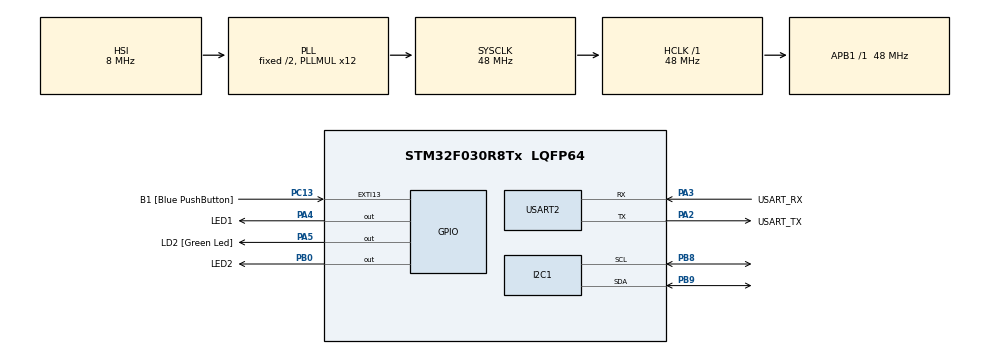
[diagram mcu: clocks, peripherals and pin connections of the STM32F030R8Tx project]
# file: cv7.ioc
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FREERTOS.Queues01=xVisualQueue,16,uint16_t,0,Dynamic,NULL,NULL
FREERTOS.Tasks01=defaultTask,0,128,StartDefaultTask,Default,NULL,Dynamic,NULL,NULL;VisualTask,0,128,StartVisualTask,Default,NULL,Dynamic,NULL,NULL;AcceleroTask,0,128,StartAcceleroTask,Default,NULL,Dynamic,NULL,NULL
FREERTOS.configUSE_NEWLIB_REENTRANT=1
I2C1.Timing=0x00201D2B
Mcu.Family=STM32F0
Mcu.Name=STM32F030R8Tx
Mcu.Package=LQFP64
NVIC.TIM14_IRQn=true\:3\:0\:false\:false\:true\:false\:false\:true\:true
NVIC.TimeBase=TIM14_IRQn
NVIC.TimeBaseIP=TIM14
PA13.GPIO_Label=TMS
PA13.Mode=Serial_Wire
PA13.Signal=SYS_SWDIO
PA14.GPIO_Label=TCK
PA14.Mode=Serial_Wire
PA14.Signal=SYS_SWCLK
PA2.GPIO_Label=USART_TX
PA2.GPIO_Mode=GPIO_MODE_AF_PP
PA2.GPIO_PuPd=GPIO_NOPULL
PA2.GPIO_Speed=GPIO_SPEED_FREQ_LOW
PA2.Mode=Asynchronous
PA2.Signal=USART2_TX
PA3.GPIO_Label=USART_RX
PA3.GPIO_Mode=GPIO_MODE_AF_PP
PA3.GPIO_PuPd=GPIO_NOPULL
PA3.GPIO_Speed=GPIO_SPEED_FREQ_LOW
PA3.Mode=Asynchronous
PA3.Signal=USART2_RX
PA4.GPIO_Label=LED1
PA4.Signal=GPIO_Output
PA5.GPIO_Label=LD2 [Green Led]
PA5.GPIO_Mode=GPIO_MODE_OUTPUT_PP
PA5.GPIO_PuPd=GPIO_NOPULL
PA5.GPIO_Speed=GPIO_SPEED_FREQ_LOW
PA5.Signal=GPIO_Output
PB0.GPIO_Label=LED2
PB0.Signal=GPIO_Output
PB8.Mode=I2C
PB8.Signal=I2C1_SCL
PB9.Mode=I2C
PB9.Signal=I2C1_SDA
PC13.GPIO_Label=B1 [Blue PushButton]
PC13.GPIO_ModeDefaultEXTI=GPIO_MODE_IT_FALLING
PC13.Signal=GPXTI13
PC14-OSC32_IN.Mode=LSE-External-Oscillator
PC14-OSC32_IN.Signal=RCC_OSC32_IN
PC15-OSC32_OUT.Mode=LSE-External-Oscillator
PC15-OSC32_OUT.Signal=RCC_OSC32_OUT
PF0-OSC_IN.Mode=HSE-External-Clock-Source
PF0-OSC_IN.Signal=RCC_OSC_IN
PF1-OSC_OUT.Signal=RCC_OSC_OUT
ProjectManager.HeapSize=0x200
ProjectManager.StackSize=0x400
ProjectManager.TargetToolchain=STM32CubeIDE
RCC.AHBFreq_Value=48000000
RCC.APB1Freq_Value=48000000
RCC.APB1TimFreq_Value=48000000
RCC.HCLKFreq_Value=48000000
RCC.PLLMUL=RCC_PLL_MUL12
RCC.SYSCLKFreq_VALUE=48000000
RCC.SYSCLKSource=RCC_SYSCLKSOURCE_PLLCLK
USART2.VirtualMode-Asynchronous=VM_ASYNC
VP_FREERTOS_VS_CMSIS_V1.Mode=CMSIS_V1
VP_SYS_VS_tim14.Mode=TIM14
board=NUCLEO-F030R8

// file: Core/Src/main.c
/* USER CODE BEGIN Header */
/**
 ******************************************************************************
 * @file           : main.c
 * @brief          : Main program body
 ******************************************************************************
 * @attention
 *
 * Copyright (c) 2025 STMicroelectronics.
 * All rights reserved.
 *
 * This software is licensed under terms that can be found in the LICENSE file
 * in the root directory of this software component.
 * If no LICENSE file comes with this software, it is provided AS-IS.
 *
 ******************************************************************************
 */
/* USER CODE END Header */
#include "main.h"
#include "cmsis_os.h"
#include "lis2dw12_reg.h"
#include <stdio.h>
#include "stm32f0xx_hal.h"

I2C_HandleTypeDef hi2c1;

UART_HandleTypeDef huart2;

osThreadId defaultTaskHandle;
osThreadId VisualTaskHandle;
osThreadId AcceleroTaskHandle;
osMessageQId xVisualQueueHandle;

void SystemClock_Config(void);
static void MX_GPIO_Init(void);
static void MX_USART2_UART_Init(void);
static void MX_I2C1_Init(void);
void StartDefaultTask(void const * argument);
void StartVisualTask(void const * argument);
void StartAcceleroTask(void const * argument);

/* USER CODE BEGIN 0 */
static int32_t platform_write(void *handle, uint8_t reg, uint8_t *bufp, uint16_t len)
{
	HAL_I2C_Mem_Write(handle, LIS2DW12_I2C_ADD_H, reg, I2C_MEMADD_SIZE_8BIT, bufp, len, 1000);
	return 0;
}
static int32_t platform_read(void *handle, uint8_t reg, uint8_t *bufp, uint16_t len)
{
	HAL_I2C_Mem_Read(handle, LIS2DW12_I2C_ADD_H, reg, I2C_MEMADD_SIZE_8BIT, bufp, len, 1000);
	return 0;
}
// Kontext pro LIS2DW12
static stmdev_ctx_t lis2dw12 = {
		.write_reg = platform_write,
		.read_reg = platform_read,
		.handle = &hi2c1,
};

int _write(int file, char *ptr, int len)
{
	HAL_UART_Transmit(&huart2, (uint8_t*)ptr, len, HAL_MAX_DELAY);
	return len;
}
/* USER CODE END 0 */

int main(void)
{

	/* MCU Configuration--------------------------------------------------------*/

	/* Reset of all peripherals, Initializes the Flash interface and the Systick. */
	HAL_Init();

	/* Configure the system clock */
	SystemClock_Config();

	/* Initialize all configured peripherals */
	MX_GPIO_Init();
	MX_USART2_UART_Init();
	MX_I2C1_Init();

	/* Create the queue(s) */
	/* definition and creation of xVisualQueue */
	osMessageQDef(xVisualQueue, 16, uint16_t);
	xVisualQueueHandle = osMessageCreate(osMessageQ(xVisualQueue), NULL);

	/* Create the thread(s) */
	/* definition and creation of defaultTask */
	osThreadDef(defaultTask, StartDefaultTask, osPriorityNormal, 0, 128);
	defaultTaskHandle = osThreadCreate(osThread(defaultTask), NULL);

	/* definition and creation of VisualTask */
	osThreadDef(VisualTask, StartVisualTask, osPriorityNormal, 0, 128);
	VisualTaskHandle = osThreadCreate(osThread(VisualTask), NULL);

	/* definition and creation of AcceleroTask */
	osThreadDef(AcceleroTask, StartAcceleroTask, osPriorityNormal, 0, 128);
	AcceleroTaskHandle = osThreadCreate(osThread(AcceleroTask), NULL);

	/* Start scheduler */
	osKernelStart();

	/* We should never get here as control is now taken by the scheduler */

	/* Infinite loop */
	while (1)
	{

	}
}

void SystemClock_Config(void)
{
	RCC_OscInitTypeDef RCC_OscInitStruct = {0};
	RCC_ClkInitTypeDef RCC_ClkInitStruct = {0};
	RCC_PeriphCLKInitTypeDef PeriphClkInit = {0};

	/** Initializes the RCC Oscillators according to the specified parameters
	 * in the RCC_OscInitTypeDef structure.
	 */
	RCC_OscInitStruct.OscillatorType = RCC_OSCILLATORTYPE_HSI;
	RCC_OscInitStruct.HSIState = RCC_HSI_ON;
	RCC_OscInitStruct.HSICalibrationValue = RCC_HSICALIBRATION_DEFAULT;
	RCC_OscInitStruct.PLL.PLLState = RCC_PLL_ON;
	RCC_OscInitStruct.PLL.PLLSource = RCC_PLLSOURCE_HSI;
	RCC_OscInitStruct.PLL.PLLMUL = RCC_PLL_MUL12;
	RCC_OscInitStruct.PLL.PREDIV = RCC_PREDIV_DIV1;
	if (HAL_RCC_OscConfig(&RCC_OscInitStruct) != HAL_OK)
	{
		Error_Handler();
	}

	/** Initializes the CPU, AHB and APB buses clocks
	 */
	RCC_ClkInitStruct.ClockType = RCC_CLOCKTYPE_HCLK|RCC_CLOCKTYPE_SYSCLK
			|RCC_CLOCKTYPE_PCLK1;
	RCC_ClkInitStruct.SYSCLKSource = RCC_SYSCLKSOURCE_PLLCLK;
	RCC_ClkInitStruct.AHBCLKDivider = RCC_SYSCLK_DIV1;
	RCC_ClkInitStruct.APB1CLKDivider = RCC_HCLK_DIV1;

	if (HAL_RCC_ClockConfig(&RCC_ClkInitStruct, FLASH_LATENCY_1) != HAL_OK)
	{
		Error_Handler();
	}
	PeriphClkInit.PeriphClockSelection = RCC_PERIPHCLK_I2C1;
	PeriphClkInit.I2c1ClockSelection = RCC_I2C1CLKSOURCE_HSI;
	if (HAL_RCCEx_PeriphCLKConfig(&PeriphClkInit) != HAL_OK)
	{
		Error_Handler();
	}
}

static void MX_I2C1_Init(void)
{

	hi2c1.Instance = I2C1;
	hi2c1.Init.Timing = 0x00201D2B;
	hi2c1.Init.OwnAddress1 = 0;
	hi2c1.Init.AddressingMode = I2C_ADDRESSINGMODE_7BIT;
	hi2c1.Init.DualAddressMode = I2C_DUALADDRESS_DISABLE;
	hi2c1.Init.OwnAddress2 = 0;
	hi2c1.Init.OwnAddress2Masks = I2C_OA2_NOMASK;
	hi2c1.Init.GeneralCallMode = I2C_GENERALCALL_DISABLE;
	hi2c1.Init.NoStretchMode = I2C_NOSTRETCH_DISABLE;
	if (HAL_I2C_Init(&hi2c1) != HAL_OK)
	{
		Error_Handler();
	}

	/** Configure Analogue filter
	 */
	if (HAL_I2CEx_ConfigAnalogFilter(&hi2c1, I2C_ANALOGFILTER_ENABLE) != HAL_OK)
	{
		Error_Handler();
	}

	/** Configure Digital filter
	 */
	if (HAL_I2CEx_ConfigDigitalFilter(&hi2c1, 0) != HAL_OK)
	{
		Error_Handler();
	}

}

static void MX_USART2_UART_Init(void)
{

	huart2.Instance = USART2;
	huart2.Init.BaudRate = 38400;
	huart2.Init.WordLength = UART_WORDLENGTH_8B;
	huart2.Init.StopBits = UART_STOPBITS_1;
	huart2.Init.Parity = UART_PARITY_NONE;
	huart2.Init.Mode = UART_MODE_TX_RX;
	huart2.Init.HwFlowCtl = UART_HWCONTROL_NONE;
	huart2.Init.OverSampling = UART_OVERSAMPLING_16;
	huart2.Init.OneBitSampling = UART_ONE_BIT_SAMPLE_DISABLE;
	huart2.AdvancedInit.AdvFeatureInit = UART_ADVFEATURE_NO_INIT;
	if (HAL_UART_Init(&huart2) != HAL_OK)
	{
		Error_Handler();
	}

}

static void MX_GPIO_Init(void)
{
	GPIO_InitTypeDef GPIO_InitStruct = {0};

	/* GPIO Ports Clock Enable */
	__HAL_RCC_GPIOC_CLK_ENABLE();
	__HAL_RCC_GPIOF_CLK_ENABLE();
	__HAL_RCC_GPIOA_CLK_ENABLE();
	__HAL_RCC_GPIOB_CLK_ENABLE();

	/*Configure GPIO pin Output Level */
	HAL_GPIO_WritePin(GPIOA, LED1_Pin|LD2_Pin, GPIO_PIN_RESET);

	/*Configure GPIO pin Output Level */
	HAL_GPIO_WritePin(LED2_GPIO_Port, LED2_Pin, GPIO_PIN_RESET);

	/*Configure GPIO pin : B1_Pin */
	GPIO_InitStruct.Pin = B1_Pin;
	GPIO_InitStruct.Mode = GPIO_MODE_IT_FALLING;
	GPIO_InitStruct.Pull = GPIO_NOPULL;
	HAL_GPIO_Init(B1_GPIO_Port, &GPIO_InitStruct);

	/*Configure GPIO pins : LED1_Pin LD2_Pin */
	GPIO_InitStruct.Pin = LED1_Pin|LD2_Pin;
	GPIO_InitStruct.Mode = GPIO_MODE_OUTPUT_PP;
	GPIO_InitStruct.Pull = GPIO_NOPULL;
	GPIO_InitStruct.Speed = GPIO_SPEED_FREQ_LOW;
	HAL_GPIO_Init(GPIOA, &GPIO_InitStruct);

	/*Configure GPIO pin : LED2_Pin */
	GPIO_InitStruct.Pin = LED2_Pin;
	GPIO_InitStruct.Mode = GPIO_MODE_OUTPUT_PP;
	GPIO_InitStruct.Pull = GPIO_NOPULL;
	GPIO_InitStruct.Speed = GPIO_SPEED_FREQ_LOW;
	HAL_GPIO_Init(LED2_GPIO_Port, &GPIO_InitStruct);

}

void StartDefaultTask(void const * argument)
{
	for(;;)
	{
		osDelay(1);
	}
}

void StartVisualTask(void const * argument)
{
	/* USER CODE BEGIN StartVisualTask */
	/* Infinite loop */
	int16_t msg;
	for(;;)
	{
		if (xQueueReceive(xVisualQueueHandle, &msg, portMAX_DELAY) == pdPASS)
		{
			// led 1 active, led 2 dead
			if (msg < -1000)
			{
				HAL_GPIO_WritePin(LED1_GPIO_Port, LED1_Pin, GPIO_PIN_SET);
				HAL_GPIO_WritePin(LED2_GPIO_Port, LED2_Pin, GPIO_PIN_RESET);
			}
			// led 2 active, led 1 dead
			else if (msg > 1000)
			{
				HAL_GPIO_WritePin(LED1_GPIO_Port, LED1_Pin, GPIO_PIN_RESET);
				HAL_GPIO_WritePin(LED2_GPIO_Port, LED2_Pin, GPIO_PIN_SET);
			}
			// obe ledky zhasnute
			else
			{
				HAL_GPIO_WritePin(LED1_GPIO_Port, LED1_Pin, GPIO_PIN_RESET);
				HAL_GPIO_WritePin(LED2_GPIO_Port, LED2_Pin, GPIO_PIN_RESET);
			}
		}
	}
}
/* USER CODE END StartVisualTask */

void StartAcceleroTask(void const * argument)
{
	/* USER CODE BEGIN StartAcceleroTask */

	// Check device ID
	uint8_t whoamI = 0;
	lis2dw12_device_id_get(&lis2dw12, &whoamI);
	printf("LIS2DW12_ID %s\n", (whoamI == LIS2DW12_ID) ? "OK" : "FAIL");

	lis2dw12_full_scale_set(&lis2dw12, LIS2DW12_2g);
	lis2dw12_power_mode_set(&lis2dw12, LIS2DW12_CONT_LOW_PWR_LOW_NOISE_2);
	lis2dw12_block_data_update_set(&lis2dw12, PROPERTY_ENABLE);
	// enable continuous FIFO
	lis2dw12_fifo_mode_set(&lis2dw12, LIS2DW12_STREAM_MODE);
	// enable part from power-down
	lis2dw12_data_rate_set(&lis2dw12, LIS2DW12_XL_ODR_25Hz);

	/* Infinite loop */

	for(;;)
	{
		uint8_t samples;
		int16_t raw_acceleration[3]; // X,Y,Z
		for(uint8_t j=0; j<20; j++){
			lis2dw12_fifo_data_level_get(&lis2dw12, &samples);
			for (uint8_t i = 0; i < samples; i++) {

				lis2dw12_acceleration_raw_get(&lis2dw12, raw_acceleration);

			}

			// poslat hodnoty do fronty
			xQueueSend(xVisualQueueHandle, &raw_acceleration[0], 0);

			// pauza 50 ms
			vTaskDelay(50);
		}
		printf("X=%d Y=%d Z=%d\n", raw_acceleration[0], raw_acceleration[1], raw_acceleration[2]);
	}
	/* USER CODE END StartAcceleroTask */

}

/* USER CODE END StartAcceleroTask */

void HAL_TIM_PeriodElapsedCallback(TIM_HandleTypeDef *htim)
{
	if (htim->Instance == TIM14)
	{
		HAL_IncTick();
	}
}

void Error_Handler(void)
{
	__disable_irq();
	while (1)
	{
	}
}
